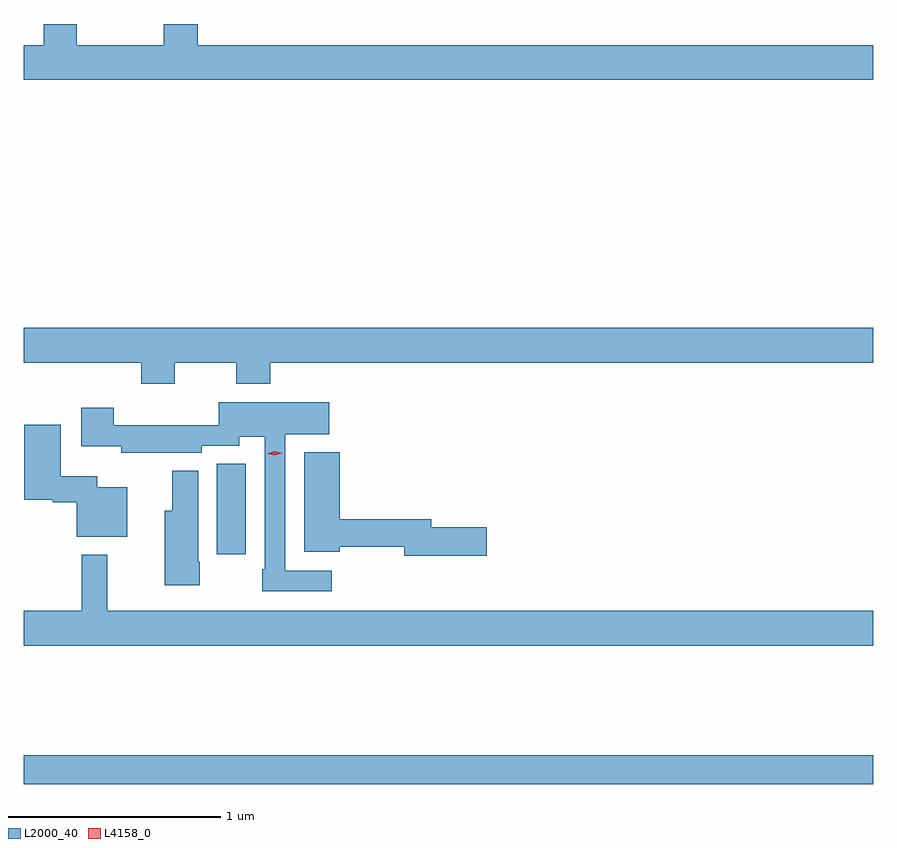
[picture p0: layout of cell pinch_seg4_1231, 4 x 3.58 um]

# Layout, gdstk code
import gdstk
lib = gdstk.Library(unit=1e-6, precision=1e-09)
def R(c, l, rs):  # rectangles x0, y0, x1, y1
    for r in rs: c.add(gdstk.rectangle(r[:2], r[2:], *l))
def P(c, l, *ps):  # polygons
    for p in ps: c.add(gdstk.Polygon(p, *l))
L2000_40 = (2000, 40)
L4158_0 = (4158, 0)

pinch_seg4_1231 = lib.new_cell('pinch_seg4_1231')
R(pinch_seg4_1231, L2000_40, [(218.831,766.864,222.831,767), (219.74,767.946,219.877,768.371)])
P(pinch_seg4_1231, L2000_40, [(222.831,770.344),(219.65,770.344),(219.65,770.443),(219.49,770.443),(219.49,770.344),(219.081,770.344),(219.081,770.443),(218.926,770.443),(218.926,770.344),(218.831,770.344),(218.831,770.18),(222.831,770.18)],
  [(219.543,768.848),(219.832,768.848),(219.832,768.749),(219.992,768.749),(219.992,768.848),(222.831,768.848),(222.831,769.012),(218.831,769.012),(218.831,768.848),(219.383,768.848),(219.383,768.749),(219.543,768.749)],
  [(220.282,767.868),(220.062,767.868),(220.062,768.512),(220.27,768.512),(220.27,768.661),(219.75,768.661),(219.75,768.553),(219.254,768.553),(219.254,768.637),(219.101,768.637),(219.101,768.455),(219.29,768.455),(219.29,768.425),(219.67,768.425),(219.67,768.456),(219.846,768.456),(219.846,768.5),(219.966,768.5),(219.966,767.875),(219.954,767.875),(219.954,767.772),(220.282,767.772)],
  [(219.319,768.262),(219.177,768.262),(219.177,768.313),(219.004,768.313),(219.004,768.556),(218.834,768.556),(218.834,768.203),(218.967,768.203),(218.967,768.191),(219.081,768.191),(219.081,768.029),(219.319,768.029)],
  [(221.011,768.074),(220.75,768.074),(220.75,768.11),(220.318,768.11),(220.318,768.427),(220.151,768.427),(220.151,767.957),(220.318,767.957),(220.318,767.982),(220.622,767.982),(220.622,767.939),(221.011,767.939)],
  [(219.66,767.911),(219.652,767.911),(219.652,768.34),(219.53,768.34),(219.53,768.151),(219.494,768.151),(219.494,767.799),(219.66,767.799)],
  [(222.831,767.68),(219.224,767.68),(219.224,767.944),(219.103,767.944),(219.103,767.68),(218.831,767.68),(218.831,767.516),(222.831,767.516)])
P(pinch_seg4_1231, L4158_0, [(220.013,768.411),(219.978,768.42),(219.978,768.42),(219.978,768.42),(220.013,768.431),(220.048,768.422),(220.048,768.422),(220.048,768.422)])

lib.write_gds('pinch_seg4_1231.gds')
